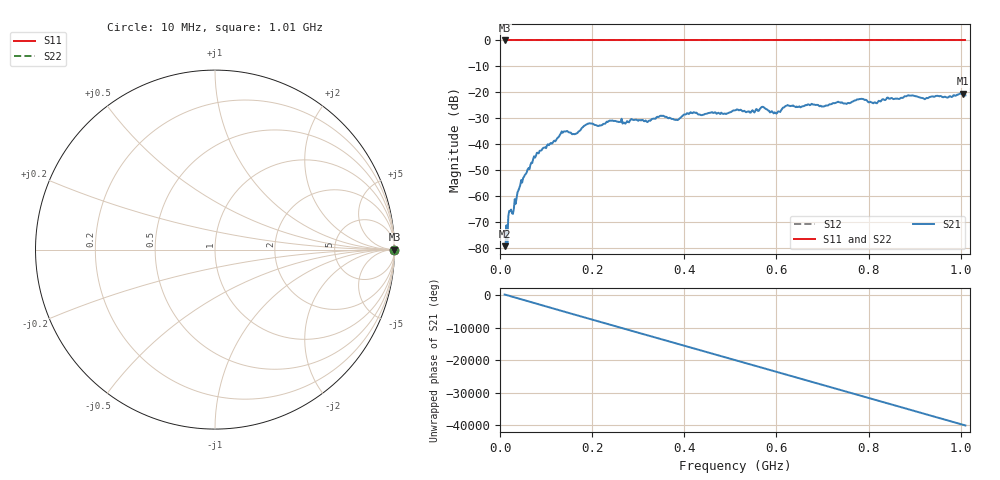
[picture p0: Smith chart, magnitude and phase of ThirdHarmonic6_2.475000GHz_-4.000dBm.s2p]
! 8/17/2025 4:34:41 AM
! C:\ANRITSUVNA\TEMP\TEMP.S2P
! CHANNEL.1
! TR.MEASUREMENT
! RAW.DATA
! RF.CORRECTION.OFF
! AVERAGING.OFF
! IF.BANDWIDTH: 5KHZ
! SWEEPTYPE:  FREQ.SWEEP(Linear)
! Reference Plane Port Info
! PORT:  PORT1  PORT2
! DISTANCE:  0  m  0  m
! TIME:  0  s  0  s
! PHASE.OFFSET:  0  deg.  0  deg.
! LOSS:  0  dB  0  dB
! REF.LOSS:  0  dB  0  dB
! REF.FREQ:  0  Hz  0  Hz
! Power Info
! POWER:  -20  dBm  -20  dBm
! EFF.POWER:  -20  dBm  -20  dBm
! SOURCE.ATTEN:  0  dB  0  dB
! TEST.ATTEN:  0  dB  0  dB
# GHZ S RI R 50.0
! FREQ.GHZ  S11RE  S11IM  S21RE  S21IM  S12RE  S12IM  S22RE  S22IM
!; PortSelection: Port_12
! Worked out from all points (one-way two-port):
!   501 points, 10 MHz to 1.01 GHz, reference 50 ohm
!   highest |S21| = -20.52 dB at 1.004 GHz (marker M1); lowest = -79.5 dB at 10 MHz (marker M2)
!   lowest |S11| = 0.0 dB at 10 MHz (marker M3)
!   |S11| at or under -10 dB: nowhere
!   |S22| runs from 0.0 to 0.0 dB; largest |S21 - S12| = 1.1
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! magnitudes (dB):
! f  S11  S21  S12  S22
! 10 MHz  0.0  -79.5  0.0  0.0
! 12 MHz  0.0  -79.1  0.0  0.0
! 22 MHz  0.0  -65.9  0.0  0.0
! 30 MHz  0.0  -65.2  0.0  0.0
! 48 MHz  0.0  -54.9  0.0  0.0
! 76 MHz  0.0  -45.3  0.0  0.0
! 136 MHz  0.0  -35.7  0.0  0.0
! 162 MHz  0.0  -36.2  0.0  0.0
! 178 MHz  0.0  -33.7  0.0  0.0
! 344 MHz  0.0  -29.6  0.0  0.0
! 382 MHz  0.0  -30.6  0.0  0.0
! 410 MHz  0.0  -28.4  0.0  0.0
! 510 MHz  0.0  -27.0  0.0  0.0
! 570 MHz  0.0  -25.6  0.0  0.0
! 598 MHz  0.0  -28.0  0.0  0.0
! 622 MHz  0.0  -25.2  0.0  0.0
! 678 MHz  0.0  -24.6  0.0  0.0
! 784 MHz  0.0  -22.5  0.0  0.0
! 814 MHz  0.0  -23.9  0.0  0.0
! 844 MHz  0.0  -22.5  0.0  0.0
! 1.004 GHz  0.0  -20.5  0.0  0.0
! 1.01 GHz  0.0  -21.2  0.0  0.0
